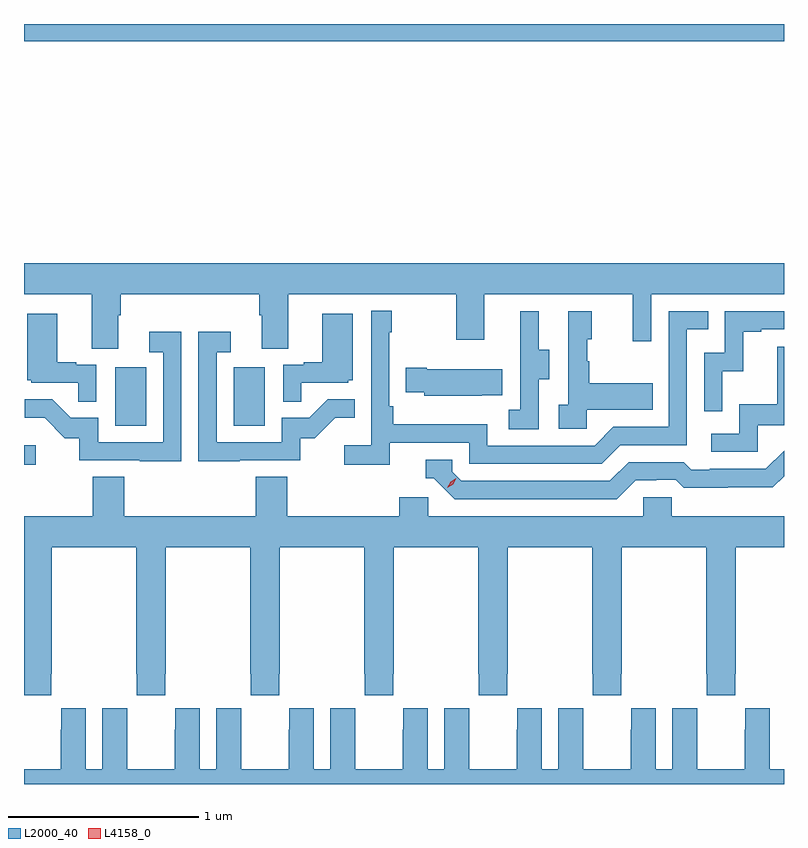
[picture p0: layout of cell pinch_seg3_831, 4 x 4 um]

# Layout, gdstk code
import gdstk
lib = gdstk.Library(unit=1e-6, precision=1e-09)
def R(c, l, rs):  # rectangles x0, y0, x1, y1
    for r in rs: c.add(gdstk.rectangle(r[:2], r[2:], *l))
def P(c, l, *ps):  # polygons
    for p in ps: c.add(gdstk.Polygon(p, *l))
L2000_40 = (2000, 40)
L4158_0 = (4158, 0)

pinch_seg3_831 = lib.new_cell('pinch_seg3_831')
R(pinch_seg3_831, L2000_40, [(850.863,709.342,850.924,709.444), (851.342,709.548,851.506,709.855), (851.966,709.548,852.13,709.855), (850.863,711.572,854.863,711.662)])
P(pinch_seg3_831, L2000_40, [(851.359,710.128),(851.372,710.128),(851.372,710.24),(852.101,710.24),(852.101,710.128),(852.113,710.128),(852.113,709.954),(852.253,709.954),(852.253,710.24),(853.138,710.24),(853.138,710.001),(853.285,710.001),(853.285,710.24),(854.066,710.24),(854.066,709.992),(854.163,709.992),(854.163,710.24),(854.863,710.24),(854.863,710.404),(850.863,710.404),(850.863,710.24),(851.219,710.24),(851.219,709.954),(851.359,709.954)],
  [(852.788,709.458),(853.206,709.458),(853.206,709.347),(853.903,709.347),(854.002,709.446),(854.352,709.446),(854.352,710.055),(854.465,710.055),(854.465,710.151),(854.256,710.151),(854.256,709.542),(853.965,709.542),(853.866,709.443),(853.302,709.443),(853.302,709.555),(852.806,709.555),(852.806,709.651),(852.786,709.651),(852.786,710.039),(852.799,710.039),(852.799,710.152),(852.69,710.152),(852.69,709.444),(852.549,709.444),(852.549,709.342),(852.788,709.342)],
  [(854.538,709.835),(854.648,709.835),(854.648,710.043),(854.743,710.043),(854.743,710.055),(854.863,710.055),(854.863,710.151),(854.55,710.151),(854.55,709.932),(854.442,709.932),(854.442,709.623),(854.538,709.623)],
  [(853.824,709.631),(854.171,709.631),(854.171,709.771),(853.837,709.771),(853.837,709.886),(853.827,709.886),(853.827,710.004),(853.852,710.004),(853.852,710.149),(853.728,710.149),(853.728,709.658),(853.677,709.658),(853.677,709.533),(853.824,709.533)],
  [(853.572,709.792),(853.627,709.792),(853.627,709.947),(853.573,709.947),(853.573,710.149),(853.475,710.149),(853.475,709.935),(853.476,709.935),(853.476,709.631),(853.413,709.631),(853.413,709.528),(853.572,709.528)],
  [(852.323,709.773),(852.57,709.773),(852.57,709.788),(852.592,709.788),(852.592,710.137),(852.434,710.137),(852.434,709.882),(852.335,709.882),(852.335,709.869),(852.228,709.869),(852.228,709.675),(852.323,709.675)],
  [(851.244,709.869),(851.138,709.869),(851.138,709.882),(851.038,709.882),(851.038,710.137),(850.88,710.137),(850.88,709.788),(850.902,709.788),(850.902,709.773),(851.149,709.773),(851.149,709.675),(851.244,709.675)],
  [(851.999,709.365),(852.318,709.365),(852.318,709.482),(852.394,709.482),(852.501,709.589),(852.605,709.589),(852.605,709.688),(852.461,709.688),(852.363,709.59),(852.219,709.59),(852.219,709.461),(851.877,709.461),(851.877,709.935),(851.95,709.935),(851.95,710.041),(851.781,710.041),(851.781,709.36),(851.999,709.36)],
  [(851.691,710.041),(851.523,710.041),(851.523,709.935),(851.595,709.935),(851.595,709.461),(851.253,709.461),(851.253,709.59),(851.109,709.59),(851.011,709.688),(850.867,709.688),(850.867,709.589),(850.971,709.589),(851.078,709.482),(851.155,709.482),(851.155,709.365),(851.473,709.365),(851.473,709.36),(851.691,709.36)],
  [(854.724,709.551),(854.863,709.551),(854.863,709.963),(854.827,709.963),(854.827,709.66),(854.628,709.66),(854.628,709.506),(854.481,709.506),(854.481,709.41),(854.724,709.41)],
  [(853.271,709.709),(853.379,709.709),(853.379,709.846),(852.982,709.846),(852.982,709.854),(852.871,709.854),(852.871,709.724),(852.969,709.724),(852.969,709.706),(853.271,709.706)],
  [(854.083,709.26),(854.19,709.26),(854.19,709.263),(854.293,709.263),(854.335,709.221),(854.568,709.221),(854.568,709.223),(854.804,709.223),(854.863,709.282),(854.863,709.417),(854.766,709.32),(854.473,709.32),(854.473,709.317),(854.374,709.317),(854.335,709.356),(854.046,709.356),(853.947,709.257),(853.164,709.257),(853.116,709.305),(853.116,709.368),(852.977,709.368),(852.977,709.272),(853.02,709.272),(853.131,709.161),(853.984,709.161)],
  [(851.39,709.28),(851.225,709.28),(851.225,709.072),(850.863,709.072),(850.863,708.129),(851.007,708.129),(851.007,708.241),(851.01,708.241),(851.01,708.908),(851.455,708.908),(851.455,708.241),(851.457,708.241),(851.457,708.129),(851.607,708.129),(851.607,708.241),(851.61,708.241),(851.61,708.908),(852.055,708.908),(852.055,708.241),(852.057,708.241),(852.057,708.129),(852.207,708.129),(852.207,708.241),(852.21,708.241),(852.21,708.908),(852.655,708.908),(852.655,708.241),(852.657,708.241),(852.657,708.129),(852.807,708.129),(852.807,708.241),(852.81,708.241),(852.81,708.908),(853.255,708.908),(853.255,708.241),(853.257,708.241),(853.257,708.129),(853.407,708.129),(853.407,708.241),(853.41,708.241),(853.41,708.908),(853.855,708.908),(853.855,708.241),(853.857,708.241),(853.857,708.129),(854.007,708.129),(854.007,708.241),(854.01,708.241),(854.01,708.908),(854.455,708.908),(854.455,708.241),(854.457,708.241),(854.457,708.129),(854.607,708.129),(854.607,708.241),(854.61,708.241),(854.61,708.908),(854.863,708.908),(854.863,709.072),(854.271,709.072),(854.271,709.17),(854.121,709.17),(854.121,709.072),(852.99,709.072),(852.99,709.17),(852.839,709.17),(852.839,709.072),(852.248,709.072),(852.248,709.28),(852.083,709.28),(852.083,709.072),(851.39,709.072)],
  [(854.863,707.74),(854.788,707.74),(854.788,708.061),(854.658,708.061),(854.658,707.948),(854.657,707.948),(854.657,707.74),(854.407,707.74),(854.407,707.948),(854.406,707.948),(854.406,708.061),(854.276,708.061),(854.276,707.74),(854.188,707.74),(854.188,708.061),(854.058,708.061),(854.058,707.948),(854.057,707.948),(854.057,707.74),(853.807,707.74),(853.807,707.948),(853.806,707.948),(853.806,708.061),(853.676,708.061),(853.676,707.74),(853.588,707.74),(853.588,708.061),(853.458,708.061),(853.458,707.948),(853.457,707.948),(853.457,707.74),(853.207,707.74),(853.207,707.948),(853.206,707.948),(853.206,708.061),(853.076,708.061),(853.076,707.74),(852.988,707.74),(852.988,708.061),(852.858,708.061),(852.858,707.948),(852.857,707.948),(852.857,707.74),(852.607,707.74),(852.607,707.948),(852.606,707.948),(852.606,708.061),(852.476,708.061),(852.476,707.74),(852.388,707.74),(852.388,708.061),(852.258,708.061),(852.258,707.948),(852.257,707.948),(852.257,707.74),(852.007,707.74),(852.007,707.948),(852.006,707.948),(852.006,708.061),(851.876,708.061),(851.876,707.74),(851.788,707.74),(851.788,708.061),(851.658,708.061),(851.658,707.948),(851.657,707.948),(851.657,707.74),(851.407,707.74),(851.407,707.948),(851.406,707.948),(851.406,708.061),(851.276,708.061),(851.276,707.74),(851.188,707.74),(851.188,708.061),(851.058,708.061),(851.058,707.948),(851.057,707.948),(851.057,707.74),(850.863,707.74),(850.863,707.662),(854.863,707.662)])
P(pinch_seg3_831, L4158_0, [(853.091,709.22),(853.091,709.221),(853.108,709.253),(853.139,709.272),(853.139,709.272),(853.139,709.272),(853.122,709.24),(853.091,709.22)])

lib.write_gds('pinch_seg3_831.gds')
